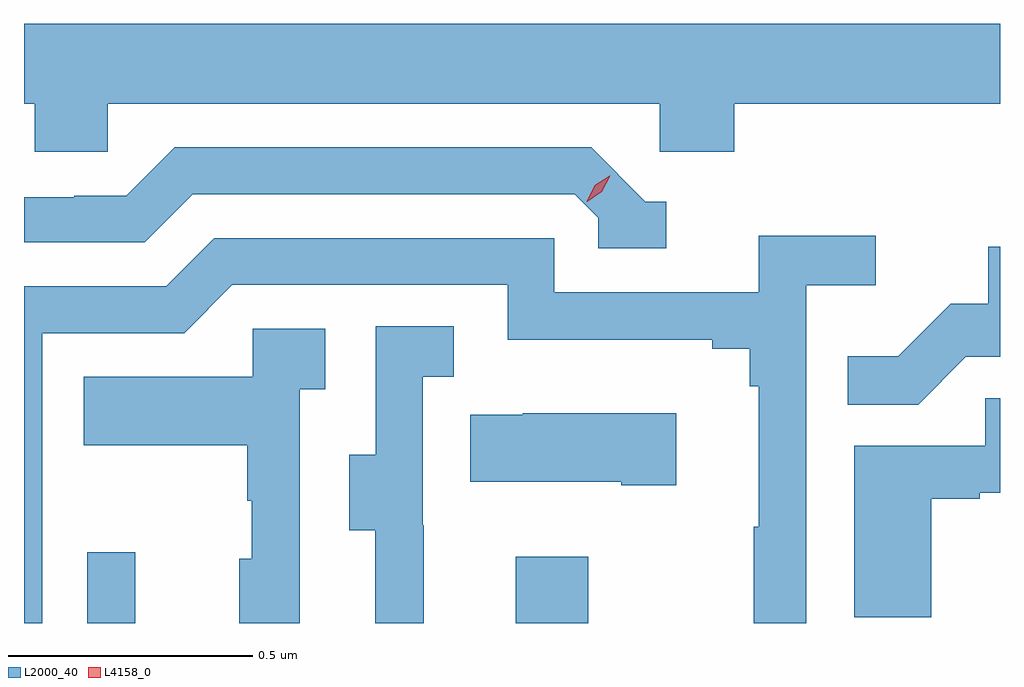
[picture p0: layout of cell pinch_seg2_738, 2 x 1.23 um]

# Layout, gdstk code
import gdstk
lib = gdstk.Library(unit=1e-6, precision=1e-09)
def R(c, l, rs):  # rectangles x0, y0, x1, y1
    for r in rs: c.add(gdstk.rectangle(r[:2], r[2:], *l))
def P(c, l, *ps):  # polygons
    for p in ps: c.add(gdstk.Polygon(p, *l))
L2000_40 = (2000, 40)
L4158_0 = (4158, 0)

pinch_seg2_738 = lib.new_cell('pinch_seg2_738')
R(pinch_seg2_738, L2000_40, [(1118.595,585.3,1118.693,585.445), (1119.473,585.3,1119.621,585.436)])
P(pinch_seg2_738, L2000_40, [(1118.637,586.364),(1119.768,586.364),(1119.768,586.266),(1119.92,586.266),(1119.92,586.364),(1120.465,586.364),(1120.465,586.528),(1118.465,586.528),(1118.465,586.364),(1118.487,586.364),(1118.487,586.266),(1118.637,586.266)],
  [(1119.781,586.164),(1119.738,586.164),(1119.627,586.275),(1118.774,586.275),(1118.675,586.176),(1118.568,586.176),(1118.568,586.173),(1118.465,586.173),(1118.465,586.08),(1118.712,586.08),(1118.811,586.179),(1119.594,586.179),(1119.642,586.131),(1119.642,586.068),(1119.781,586.068)],
  [(1118.502,585.894),(1118.793,585.894),(1118.892,585.993),(1119.456,585.993),(1119.456,585.881),(1119.875,585.881),(1119.875,585.862),(1119.952,585.862),(1119.952,585.785),(1119.971,585.785),(1119.971,585.497),(1119.96,585.497),(1119.96,585.3),(1120.068,585.3),(1120.068,585.992),(1120.21,585.992),(1120.21,586.094),(1119.971,586.094),(1119.971,585.978),(1119.552,585.978),(1119.552,586.089),(1118.855,586.089),(1118.756,585.99),(1118.465,585.99),(1118.465,585.3),(1118.502,585.3)],
  [(1120.395,585.846),(1120.465,585.846),(1120.465,586.071),(1120.441,586.071),(1120.441,585.954),(1120.364,585.954),(1120.257,585.847),(1120.153,585.847),(1120.153,585.748),(1120.297,585.748)],
  [(1119.284,585.501),(1119.282,585.501),(1119.282,585.805),(1119.346,585.805),(1119.346,585.908),(1119.186,585.908),(1119.186,585.645),(1119.131,585.645),(1119.131,585.49),(1119.185,585.49),(1119.185,585.3),(1119.284,585.3)],
  [(1119.03,585.779),(1119.082,585.779),(1119.082,585.903),(1118.934,585.903),(1118.934,585.805),(1118.587,585.805),(1118.587,585.665),(1118.922,585.665),(1118.922,585.551),(1118.932,585.551),(1118.932,585.432),(1118.906,585.432),(1118.906,585.3),(1119.03,585.3)],
  [(1120.324,585.555),(1120.424,585.555),(1120.424,585.567),(1120.465,585.567),(1120.465,585.761),(1120.435,585.761),(1120.435,585.663),(1120.166,585.663),(1120.166,585.312),(1120.324,585.312)],
  [(1119.802,585.73),(1119.487,585.73),(1119.487,585.727),(1119.379,585.727),(1119.379,585.59),(1119.689,585.59),(1119.689,585.583),(1119.802,585.583)])
P(pinch_seg2_738, L4158_0, [(1119.618,586.164),(1119.618,586.164),(1119.635,586.197),(1119.665,586.217),(1119.666,586.217),(1119.666,586.217),(1119.649,586.184),(1119.619,586.164)])

lib.write_gds('pinch_seg2_738.gds')
